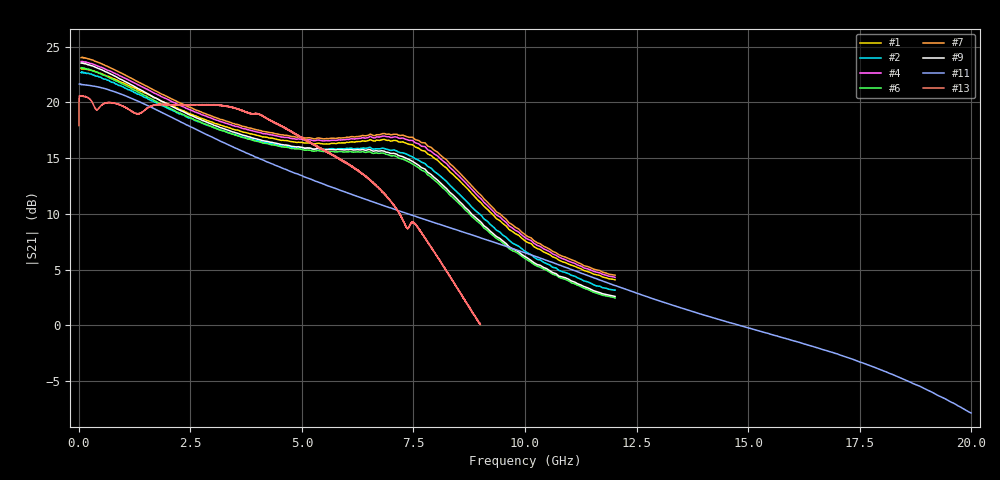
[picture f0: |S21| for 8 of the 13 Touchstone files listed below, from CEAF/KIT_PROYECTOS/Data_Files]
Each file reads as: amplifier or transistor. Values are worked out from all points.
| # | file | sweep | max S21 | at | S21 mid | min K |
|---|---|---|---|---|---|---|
| 1 | GALI-39+___28mA___Minus45degC.S2P | 50 MHz to 12.02 GHz | 23.1 dB | 74 MHz | 17.8 dB at 3.31 GHz | 1.03 |
| 2 | GALI-39+___28mA___Plus25degC.S2P | 50 MHz to 12.02 GHz | 22.7 dB | 74 MHz | 17.4 dB at 3.31 GHz | 1.03 |
| 3 | GALI-39+___28mA___Plus85degC.S2P | 50 MHz to 12.02 GHz | 22.4 dB | 74 MHz | 17.0 dB at 3.31 GHz | 1.03 |
| 4 | GALI-39+___35mA___Minus45degC.S2P | 50 MHz to 12.02 GHz | 23.7 dB | 62 MHz | 18.1 dB at 3.31 GHz | 1.03 |
| 5 | GALI-39+___35mA___Plus25degC.S2P | 50 MHz to 12.02 GHz | 23.4 dB | 68 MHz | 17.7 dB at 3.31 GHz | 1.03 |
| 6 | GALI-39+___35mA___Plus85degC.S2P | 50 MHz to 12.02 GHz | 23.1 dB | 62 MHz | 17.3 dB at 3.31 GHz | 1.03 |
| 7 | GALI-39+___42mA___Minus45degC.S2P | 50 MHz to 12.02 GHz | 24.1 dB | 68 MHz | 18.3 dB at 3.31 GHz | 1.02 |
| 8 | GALI-39+___42mA___Plus25degC.S2P | 50 MHz to 12.02 GHz | 23.8 dB | 68 MHz | 17.9 dB at 3.31 GHz | 1.03 |
| 9 | GALI-39+___42mA___Plus85degC.S2P | 50 MHz to 12.02 GHz | 23.5 dB | 68 MHz | 17.6 dB at 3.31 GHz | 1.03 |
| 10 | LEE2-6+_12mA_Plus25DegC_Unit 1.s2p | 10 MHz to 20 GHz | 19.4 dB | 20 MHz | 6.0 dB at 9.85 GHz | 0.91 |
| 11 | LEE2-6+_16mA_Plus25DegC_Unit 1.s2p | 10 MHz to 20 GHz | 21.7 dB | 20 MHz | 6.7 dB at 9.85 GHz | 1.02 |
| 12 | LEE2-6+_20mA_Plus25DegC_Unit 1.s2p | 10 MHz to 20 GHz | 22.8 dB | 10 MHz | 7.1 dB at 9.85 GHz | 1.02 |
| 13 | SKY65017_DC_9GHz_S_Parameter.s2p | 1 MHz to 9 GHz | 20.6 dB | 10.84 MHz | 18.0 dB at 4.5 GHz | 0.90 |
